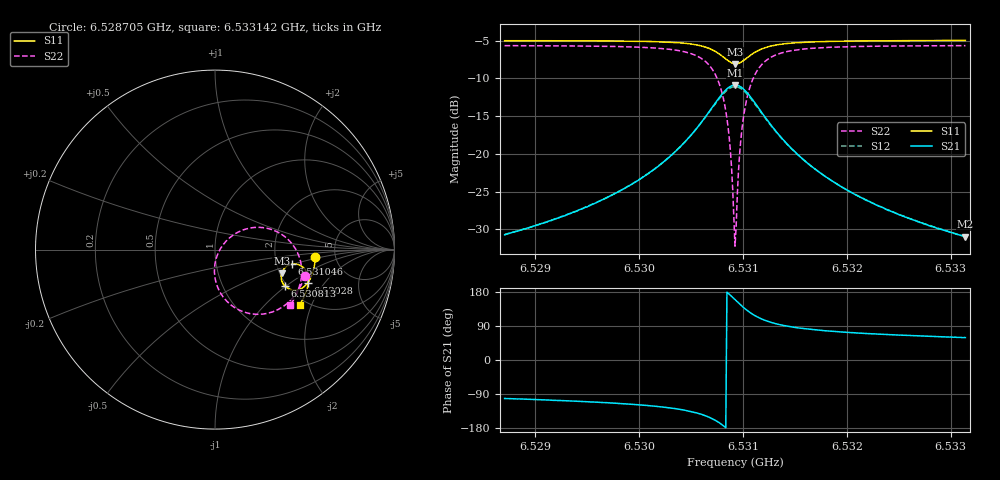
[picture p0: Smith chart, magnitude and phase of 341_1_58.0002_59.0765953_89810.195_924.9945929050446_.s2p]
#  HZ  S  RI  R  50.00
! Rohde & Schwarz Vector Network Analyzer
! Rohde-Schwarz,ZNB20-2Port,1311601062101988,3.16
! Created: UTC 3/21/2024, 1:05:36 AM
! freq[Hz]  re:S11  im:S11  re:S21  im:S21  re:S12  im:S12  re:S22  im:S22
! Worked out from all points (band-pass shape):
!   401 points, 6.528705 GHz to 6.533142 GHz, reference 50 ohm
!   highest |S21| = -10.88 dB at 6.530924 GHz (marker M1); lowest = -31.0 dB at 6.533142 GHz (marker M2)
!   |S21| within 3 dB of the highest: 6.530703 GHz to 6.531147 GHz (444.8 kHz wide, 0.00681 % of centre)
!   lowest |S11| = -8.1 dB at 6.530924 GHz (marker M3), VSWR 2.30, Z = 102 - j32.2 ohm
!   |S11| at or under -10 dB: nowhere
!   |S22| runs from -32.2 to -5.7 dB; largest |S21 - S12| = 0.011
!   S11 on the Smith chart (normalised r, x): 6.528705 GHz: 3.50, -0.42; 6.53028 GHz: 2.62, -1.38; 6.530813 GHz: 1.95, -0.97; 6.531046 GHz: 2.43, -0.49; 6.533142 GHz: 1.82, -1.65
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6.5287046e9  0.5597 -0.0414  -0.00588 -0.0285  -0.00621 -0.0284  0.5003 -0.1449
6.5294479e9  0.5511 -0.1024  -0.0144 -0.0407  -0.0154 -0.0405  0.472 -0.2125
6.5301913e9  0.5247 -0.1737  -0.0454 -0.07  -0.0474 -0.069  0.3962 -0.3054
6.53028e9  0.5178 -0.184  -0.0549 -0.0761  -0.0569 -0.0746  0.3761 -0.3196
6.5304798e9  0.4941 -0.2084  -0.0903 -0.0911  -0.0929 -0.0882  0.3054 -0.3516
6.5306462e9  0.4549 -0.2248  -0.1512 -0.0949  -0.1534 -0.0891  0.1926 -0.3562
6.530746e9  0.4163 -0.2208  -0.2108 -0.0719  -0.2107 -0.0636  0.0903 -0.3095
6.5308126e9  0.3877 -0.2014  -0.2534 -0.0286  -0.2495 -0.0195  0.0238 -0.2297
6.5308459e9  0.3763 -0.1847  -0.2692 0.00458  -0.263 0.0132  0.00271 -0.1716
6.5308681e9  0.3711 -0.171  -0.275 0.0305  -0.2676 0.0381  -0.00307 -0.1276
6.5309124e9  0.3696 -0.1404  -0.2717 0.0868  -0.2623 0.0914  0.0113 -0.0352
6.5309235e9  0.3714 -0.1328  -0.2675 0.1007  -0.2579 0.1044  0.0206 -0.0132
6.5309346e9  0.374 -0.1253  -0.2618 0.1142  -0.2521 0.1169  0.032 0.00801
6.5309457e9  0.3772 -0.1182  -0.2546 0.1268  -0.2451 0.1289  0.0456 0.0277
6.5309679e9  0.386 -0.1054  -0.2374 0.1496  -0.2284 0.15  0.0774 0.0624
6.5309901e9  0.3968 -0.0952  -0.2169 0.1681  -0.2087 0.1671  0.1141 0.0894
6.5310456e9  0.4279 -0.0813  -0.1608 0.1935  -0.155 0.1909  0.2117 0.1226
6.5311232e9  0.4662 -0.0843  -0.0932 0.1924  -0.0901 0.1898  0.3252 0.1081
6.5312342e9  0.4986 -0.1065  -0.0361 0.1632  -0.0347 0.1617  0.4181 0.0452
6.5316669e9  0.5202 -0.1822  0.0137 0.0807  0.0148 0.0806  0.4827 -0.1304
6.5324102e9  0.4999 -0.255  0.0165 0.0387  0.0171 0.0385  0.4554 -0.2457
6.5331425e9  0.4717 -0.3084  0.0145 0.0243  0.0151 0.0241  0.4197 -0.3079
